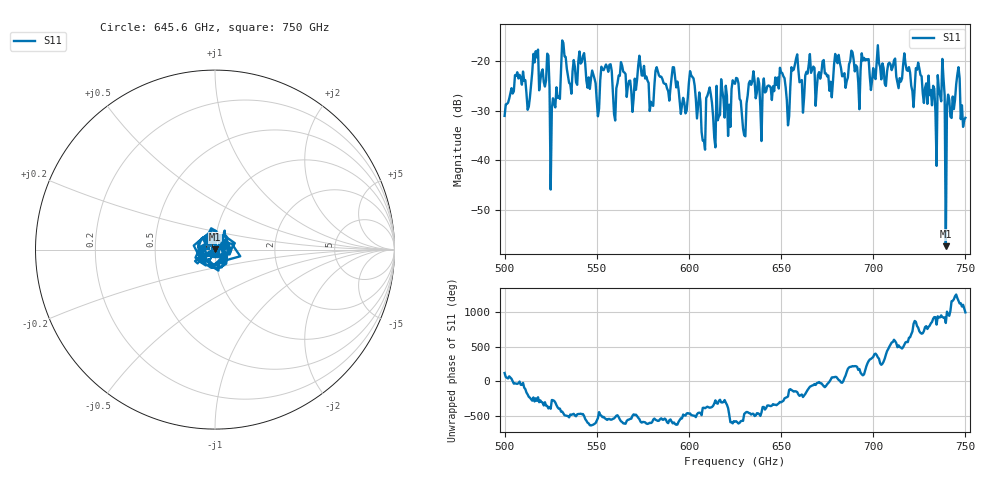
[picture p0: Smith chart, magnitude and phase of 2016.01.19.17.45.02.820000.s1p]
!Created with skrf (http://scikit-rf.org).
# GHz S RI R 50.0
!freq ReS11 ImS11
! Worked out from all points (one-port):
!   401 points, 500 GHz to 750 GHz, reference 50 ohm
!   lowest |S11| = -57.3 dB at 739.4 GHz (marker M1), VSWR 1.00, Z = 49.9 + j0.115 ohm
!   |S11| at or under -10 dB: start of sweep to end of sweep
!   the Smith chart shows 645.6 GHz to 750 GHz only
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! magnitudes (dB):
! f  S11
! 500 GHz  -31.0
! 506.9 GHz  -22.2
! 513.1 GHz  -29.1
! 516.9 GHz  -18.0
! 523.1 GHz  -18.4
! 526.2 GHz  -27.5
! 531.2 GHz  -15.8
! 541.9 GHz  -20.2
! 550.6 GHz  -31.1
! 562.5 GHz  -22.9
! 593.8 GHz  -24.1
! 601.9 GHz  -23.1
! 607.5 GHz  -36.0
! 610.6 GHz  -26.2
! 615 GHz  -24.9
! 625 GHz  -24.5
! 630 GHz  -34.9
! 633.8 GHz  -24.7
! 650.6 GHz  -22.4
! 653.8 GHz  -32.9
! 656.2 GHz  -21.8
! 687.5 GHz  -20.0
! 718.8 GHz  -21.9
! 733.1 GHz  -25.5
! 737.5 GHz  -19.5
! 739.4 GHz  -57.3
! 745.6 GHz  -22.7
! 750 GHz  -31.4
